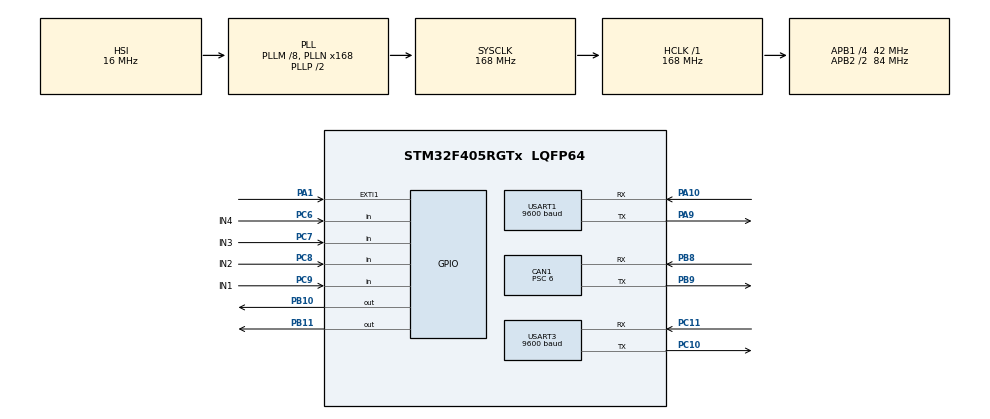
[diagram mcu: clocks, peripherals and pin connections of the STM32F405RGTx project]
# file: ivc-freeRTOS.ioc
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CAN1.AWUM=ENABLE
CAN1.BS1=CAN_BS1_8TQ
CAN1.BS2=CAN_BS2_5TQ
CAN1.CalculateTimeQuantum=142.85714285714286
CAN1.Prescaler=6
FREERTOS.Tasks01=androidTask,0,512,StartAndroidTask,Default,NULL,Dynamic,NULL,NULL;gsmTask,0,512,StartGsmTask,Default,NULL,Dynamic,NULL,NULL;canTask,0,512,StartCanTask,Default,NULL,Dynamic,NULL,NULL
Mcu.Family=STM32F4
Mcu.Name=STM32F405RGTx
Mcu.Package=LQFP64
NVIC.CAN1_RX0_IRQn=true\:5\:0\:false\:false\:true\:true\:true\:true
NVIC.EXTI1_IRQn=true\:5\:0\:false\:false\:true\:true\:true\:true
NVIC.PriorityGroup=NVIC_PRIORITYGROUP_4
NVIC.TIM2_IRQn=true\:5\:0\:false\:false\:true\:true\:true\:true
NVIC.TIM3_IRQn=true\:5\:0\:false\:false\:true\:true\:true\:true
NVIC.TIM8_TRG_COM_TIM14_IRQn=true\:0\:0\:false\:false\:true\:false\:false\:true
NVIC.TimeBase=TIM8_TRG_COM_TIM14_IRQn
NVIC.TimeBaseIP=TIM14
NVIC.USART1_IRQn=true\:5\:0\:false\:false\:true\:true\:true\:true
NVIC.USART3_IRQn=true\:5\:0\:false\:false\:true\:true\:true\:true
PA1.Signal=GPXTI1
PA10.Mode=Asynchronous
PA10.Signal=USART1_RX
PA13.Mode=Serial_Wire
PA13.Signal=SYS_JTMS-SWDIO
PA14.Mode=Serial_Wire
PA14.Signal=SYS_JTCK-SWCLK
PA9.Mode=Asynchronous
PA9.Signal=USART1_TX
PB10.Signal=GPIO_Output
PB11.Signal=GPIO_Output
PB12.Signal=SPI2_NSS
PB13.Signal=SPI2_SCK
PB14.Signal=SPI2_MISO
PB15.Signal=SPI2_MOSI
PB8.Mode=Master
PB8.Signal=CAN1_RX
PB9.Mode=Master
PB9.Signal=CAN1_TX
PC10.Mode=Asynchronous
PC10.Signal=USART3_TX
PC11.Mode=Asynchronous
PC11.Signal=USART3_RX
PC6.GPIO_Label=IN4
PC6.Signal=GPIO_Input
PC7.GPIO_Label=IN3
PC7.Signal=GPIO_Input
PC8.GPIO_Label=IN2
PC8.Signal=GPIO_Input
PC9.GPIO_Label=IN1
PC9.Signal=GPIO_Input
ProjectManager.HeapSize=0xC00
ProjectManager.StackSize=0x800
ProjectManager.TargetToolchain=MDK-ARM V5
RCC.48MHZClocksFreq_Value=84000000
RCC.AHBFreq_Value=168000000
RCC.APB1CLKDivider=RCC_HCLK_DIV4
RCC.APB1Freq_Value=42000000
RCC.APB1TimFreq_Value=84000000
RCC.APB2CLKDivider=RCC_HCLK_DIV2
RCC.APB2Freq_Value=84000000
RCC.APB2TimFreq_Value=168000000
RCC.CortexFreq_Value=168000000
RCC.HCLKFreq_Value=168000000
RCC.HSE_VALUE=25000000
RCC.HSI_VALUE=16000000
RCC.LSE_VALUE=32768
RCC.PLLM=8
RCC.PLLN=168
RCC.SYSCLKFreq_VALUE=168000000
RCC.SYSCLKSource=RCC_SYSCLKSOURCE_PLLCLK
RCC.VCOOutputFreq_Value=336000000
TIM3.Period=100-1
TIM3.Prescaler=840-1
USART1.BaudRate=9600
USART1.VirtualMode=VM_ASYNC
USART3.BaudRate=9600
USART3.VirtualMode=VM_ASYNC
VP_FREERTOS_VS_CMSIS_V1.Mode=CMSIS_V1
VP_SYS_VS_tim14.Mode=TIM14
VP_TIM2_VS_ClockSourceINT.Mode=Internal
VP_TIM3_VS_ClockSourceINT.Mode=Internal
board=custom

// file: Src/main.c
/* USER CODE BEGIN Header */
/**
  ******************************************************************************
  * @file           : main.c
  * @brief          : Main program body
  ******************************************************************************
  * This notice applies to any and all portions of this file
  * that are not between comment pairs USER CODE BEGIN and
  * USER CODE END. Other portions of this file, whether
  * inserted by the user or by software development tools
  * are owned by their respective copyright owners.
  *
  * Copyright (c) 2019 STMicroelectronics International N.V.
  * All rights reserved.
  *
  * Redistribution and use in source and binary forms, with or without
  * modification, are permitted, provided that the following conditions are met:
  *
  * 1. Redistribution of source code must retain the above copyright notice,
  *    this list of conditions and the following disclaimer.
  * 2. Redistributions in binary form must reproduce the above copyright notice,
  *    this list of conditions and the following disclaimer in the documentation
  *    and/or other materials provided with the distribution.
  * 3. Neither the name of STMicroelectronics nor the names of other
  *    contributors to this software may be used to endorse or promote products
  *    derived from this software without specific written permission.
  * 4. This software, including modifications and/or derivative works of this
  *    software, must execute solely and exclusively on microcontroller or
  *    microprocessor devices manufactured by or for STMicroelectronics.
  * 5. Redistribution and use of this software other than as permitted under
  *    this license is void and will automatically terminate your rights under
  *    this license.
  *
  * THIS SOFTWARE IS PROVIDED BY STMICROELECTRONICS AND CONTRIBUTORS "AS IS"
  * AND ANY EXPRESS, IMPLIED OR STATUTORY WARRANTIES, INCLUDING, BUT NOT
  * LIMITED TO, THE IMPLIED WARRANTIES OF MERCHANTABILITY, FITNESS FOR A
  * PARTICULAR PURPOSE AND NON-INFRINGEMENT OF THIRD PARTY INTELLECTUAL PROPERTY
  * RIGHTS ARE DISCLAIMED TO THE FULLEST EXTENT PERMITTED BY LAW. IN NO EVENT
  * SHALL STMICROELECTRONICS OR CONTRIBUTORS BE LIABLE FOR ANY DIRECT, INDIRECT,
  * INCIDENTAL, SPECIAL, EXEMPLARY, OR CONSEQUENTIAL DAMAGES (INCLUDING, BUT NOT
  * LIMITED TO, PROCUREMENT OF SUBSTITUTE GOODS OR SERVICES; LOSS OF USE, DATA,
  * OR PROFITS; OR BUSINESS INTERRUPTION) HOWEVER CAUSED AND ON ANY THEORY OF
  * LIABILITY, WHETHER IN CONTRACT, STRICT LIABILITY, OR TORT (INCLUDING
  * NEGLIGENCE OR OTHERWISE) ARISING IN ANY WAY OUT OF THE USE OF THIS SOFTWARE,
  * EVEN IF ADVISED OF THE POSSIBILITY OF SUCH DAMAGE.
  *
  ******************************************************************************
  */
/* USER CODE END Header */

#include "main.h"
#include "cmsis_os.h"
#include "can.h"
#include "tim.h"
#include "usart.h"
#include "gpio.h"

/* USER CODE BEGIN Includes */
#include <stdbool.h>
/* USER CODE END Includes */

/* USER CODE BEGIN PV */
uint32_t a,b,c,d;

/* CAN variables */
extern CAN_TxHeaderTypeDef   TxHeader;
extern CAN_RxHeaderTypeDef   RxHeader;
extern uint8_t               TxData[8];
extern uint8_t               RxData[8];
extern uint32_t              TxMailbox;

// BMS variable
int supply12V, packSOC = 80, ampHours, lowestVolt = 2725;
//uint32_t totalVolt;
bool right = 0, left = 0, lamp = 0;
float coloumb;
uint16_t current;
uint16_t temperature[4];

// controller variable
uint32_t counter;
uint16_t motorCurrent;
uint16_t controllerTemperature;
uint16_t rpm;
uint8_t errorCode;
uint16_t motorTemperature;
uint16_t d_battCurrentController;
uint16_t totalVoltController;
uint8_t totalVolt = 0;

// pulser variable
uint16_t counterL;
uint8_t counterH;
float periode, freq;

int mode = 0;

uint32_t n;

extern uint8_t rx_data, rx_buffer[256], rx_index, Transfer_cplt, datapos, dataqt;
extern char tx_buffer[512];

/* bluetooth variables */
uint8_t rx_data2, rx_buffer2[256], Transfer_cplt2;
uint32_t rx_index2=0;
char tx_buffer2[512];
/* USER CODE END PV */

void SystemClock_Config(void);
void MX_FREERTOS_Init(void);

int main(void)
{

  /* MCU Configuration--------------------------------------------------------*/

  /* Reset of all peripherals, Initializes the Flash interface and the Systick. */
  HAL_Init();

  /* Configure the system clock */
  SystemClock_Config();

  /* Initialize all configured peripherals */
  MX_GPIO_Init();
  MX_CAN1_Init();
  MX_USART3_UART_Init();
  MX_USART1_UART_Init();
  MX_TIM2_Init();
  MX_TIM3_Init();
  /* USER CODE BEGIN 2 */
	CAN_Filter();
	HAL_CAN_Start(&hcan1);

	HAL_Delay(6000);

//	HAL_UART_Receive_IT(&huart1,&rx_data2,1);
	HAL_UART_Receive_IT(&huart3,&rx_data,1);

//	n=sprintf(tx_buffer,"AT\r\n");
//	HAL_UART_Transmit(&huart3, (uint8_t *)tx_buffer, n, 200);

  /* USER CODE END 2 */

  /* Call init function for freertos objects (in freertos.c) */
  MX_FREERTOS_Init();

  /* Start scheduler */
  osKernelStart();

  /* We should never get here as control is now taken by the scheduler */

  /* Infinite loop */
  while (1)
  {

  }
}

void SystemClock_Config(void)
{
  RCC_OscInitTypeDef RCC_OscInitStruct = {0};
  RCC_ClkInitTypeDef RCC_ClkInitStruct = {0};

  /**Configure the main internal regulator output voltage
  */
  __HAL_RCC_PWR_CLK_ENABLE();
  __HAL_PWR_VOLTAGESCALING_CONFIG(PWR_REGULATOR_VOLTAGE_SCALE1);
  /**Initializes the CPU, AHB and APB busses clocks
  */
  RCC_OscInitStruct.OscillatorType = RCC_OSCILLATORTYPE_HSI;
  RCC_OscInitStruct.HSIState = RCC_HSI_ON;
  RCC_OscInitStruct.HSICalibrationValue = RCC_HSICALIBRATION_DEFAULT;
  RCC_OscInitStruct.PLL.PLLState = RCC_PLL_ON;
  RCC_OscInitStruct.PLL.PLLSource = RCC_PLLSOURCE_HSI;
  RCC_OscInitStruct.PLL.PLLM = 8;
  RCC_OscInitStruct.PLL.PLLN = 168;
  RCC_OscInitStruct.PLL.PLLP = RCC_PLLP_DIV2;
  RCC_OscInitStruct.PLL.PLLQ = 4;
  if (HAL_RCC_OscConfig(&RCC_OscInitStruct) != HAL_OK)
  {
    Error_Handler();
  }
  /**Initializes the CPU, AHB and APB busses clocks
  */
  RCC_ClkInitStruct.ClockType = RCC_CLOCKTYPE_HCLK|RCC_CLOCKTYPE_SYSCLK
                              |RCC_CLOCKTYPE_PCLK1|RCC_CLOCKTYPE_PCLK2;
  RCC_ClkInitStruct.SYSCLKSource = RCC_SYSCLKSOURCE_PLLCLK;
  RCC_ClkInitStruct.AHBCLKDivider = RCC_SYSCLK_DIV1;
  RCC_ClkInitStruct.APB1CLKDivider = RCC_HCLK_DIV4;
  RCC_ClkInitStruct.APB2CLKDivider = RCC_HCLK_DIV2;

  if (HAL_RCC_ClockConfig(&RCC_ClkInitStruct, FLASH_LATENCY_5) != HAL_OK)
  {
    Error_Handler();
  }
}

void HAL_TIM_PeriodElapsedCallback(TIM_HandleTypeDef *htim)
{
  if (htim->Instance == TIM14) {
    HAL_IncTick();
  }
}

void Error_Handler(void)
{
}

/************************ (C) COPYRIGHT STMicroelectronics *****END OF FILE****/

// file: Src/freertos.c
/* USER CODE BEGIN Header */
/**
  ******************************************************************************
  * File Name          : freertos.c
  * Description        : Code for freertos applications
  ******************************************************************************
  * This notice applies to any and all portions of this file
  * that are not between comment pairs USER CODE BEGIN and
  * USER CODE END. Other portions of this file, whether
  * inserted by the user or by software development tools
  * are owned by their respective copyright owners.
  *
  * Copyright (c) 2019 STMicroelectronics International N.V.
  * All rights reserved.
  *
  * Redistribution and use in source and binary forms, with or without
  * modification, are permitted, provided that the following conditions are met:
  *
  * 1. Redistribution of source code must retain the above copyright notice,
  *    this list of conditions and the following disclaimer.
  * 2. Redistributions in binary form must reproduce the above copyright notice,
  *    this list of conditions and the following disclaimer in the documentation
  *    and/or other materials provided with the distribution.
  * 3. Neither the name of STMicroelectronics nor the names of other
  *    contributors to this software may be used to endorse or promote products
  *    derived from this software without specific written permission.
  * 4. This software, including modifications and/or derivative works of this
  *    software, must execute solely and exclusively on microcontroller or
  *    microprocessor devices manufactured by or for STMicroelectronics.
  * 5. Redistribution and use of this software other than as permitted under
  *    this license is void and will automatically terminate your rights under
  *    this license.
  *
  * THIS SOFTWARE IS PROVIDED BY STMICROELECTRONICS AND CONTRIBUTORS "AS IS"
  * AND ANY EXPRESS, IMPLIED OR STATUTORY WARRANTIES, INCLUDING, BUT NOT
  * LIMITED TO, THE IMPLIED WARRANTIES OF MERCHANTABILITY, FITNESS FOR A
  * PARTICULAR PURPOSE AND NON-INFRINGEMENT OF THIRD PARTY INTELLECTUAL PROPERTY
  * RIGHTS ARE DISCLAIMED TO THE FULLEST EXTENT PERMITTED BY LAW. IN NO EVENT
  * SHALL STMICROELECTRONICS OR CONTRIBUTORS BE LIABLE FOR ANY DIRECT, INDIRECT,
  * INCIDENTAL, SPECIAL, EXEMPLARY, OR CONSEQUENTIAL DAMAGES (INCLUDING, BUT NOT
  * LIMITED TO, PROCUREMENT OF SUBSTITUTE GOODS OR SERVICES; LOSS OF USE, DATA,
  * OR PROFITS; OR BUSINESS INTERRUPTION) HOWEVER CAUSED AND ON ANY THEORY OF
  * LIABILITY, WHETHER IN CONTRACT, STRICT LIABILITY, OR TORT (INCLUDING
  * NEGLIGENCE OR OTHERWISE) ARISING IN ANY WAY OUT OF THE USE OF THIS SOFTWARE,
  * EVEN IF ADVISED OF THE POSSIBILITY OF SUCH DAMAGE.
  *
  ******************************************************************************
  */
/* USER CODE END Header */

#include "FreeRTOS.h"
#include "task.h"
#include "main.h"
#include "cmsis_os.h"

/* USER CODE BEGIN Includes */
#include <stdbool.h>
#include "sim900A.h"

/* USER CODE END Includes */

/* USER CODE BEGIN Variables */
extern CAN_HandleTypeDef hcan1;
extern TIM_HandleTypeDef htim2;
extern TIM_HandleTypeDef htim3;
extern UART_HandleTypeDef huart1;
extern UART_HandleTypeDef huart3;
extern TIM_HandleTypeDef htim14;

extern uint32_t a,b,c,d;

/* CAN variables */
extern CAN_TxHeaderTypeDef   TxHeader;
extern CAN_RxHeaderTypeDef   RxHeader;
extern uint8_t               TxData[8];
extern uint8_t               RxData[8];
extern uint32_t              TxMailbox;

// BMS variable
extern int supply12V, packSOC, ampHours, lowestVolt;
extern uint32_t totalVolt;
extern bool right, left, lamp;
extern float coloumb;
extern uint16_t current;
extern uint16_t temperature[4];

// controller variable
extern uint32_t counter;
extern uint16_t motorCurrent;
extern uint16_t controllerTemperature;
extern uint16_t rpm;
extern uint8_t errorCode;
extern uint16_t motorTemperature;
extern uint16_t d_battCurrentController;
extern uint16_t totalVoltController;

// pulser variable
extern uint16_t counterL;
extern uint8_t counterH;
extern float periode, freq;

extern int mode;

uint8_t buffSerial[16];
uint8_t serialIndex;
bool flagEngine = true;
int count, state;

extern uint8_t rx_data, rx_buffer[256], rx_index, Transfer_cplt;
extern char tx_buffer[512];
extern float lastdata;

/* bluetooth variables */
extern uint8_t rx_data2, rx_buffer2[256], Transfer_cplt2;
extern uint32_t rx_index2;
extern char tx_buffer2[512];

extern uint32_t n;

/* USER CODE END Variables */
osThreadId androidTaskHandle;
osThreadId gsmTaskHandle;
osThreadId canTaskHandle;

/* USER CODE BEGIN FunctionPrototypes */
unsigned char ascii_to_hex(unsigned char data);
void input_handler(void);
void Clr_Buff2();
/* USER CODE END FunctionPrototypes */

void StartAndroidTask(void const * argument);
void StartGsmTask(void const * argument);
void StartCanTask(void const * argument);

void MX_FREERTOS_Init(void); /* (MISRA C 2004 rule 8.1) */

void MX_FREERTOS_Init(void) {

  /* Create the thread(s) */
  /* definition and creation of androidTask */
  osThreadDef(androidTask, StartAndroidTask, osPriorityNormal, 0, 512);
  androidTaskHandle = osThreadCreate(osThread(androidTask), NULL);

  /* definition and creation of gsmTask */
  osThreadDef(gsmTask, StartGsmTask, osPriorityNormal, 0, 512);
  gsmTaskHandle = osThreadCreate(osThread(gsmTask), NULL);

  /* definition and creation of canTask */
  osThreadDef(canTask, StartCanTask, osPriorityNormal, 0, 512);
  canTaskHandle = osThreadCreate(osThread(canTask), NULL);

}

void StartAndroidTask(void const * argument)
{

  /* USER CODE BEGIN StartAndroidTask */
  /* Infinite loop */
  for(;;)
  {
		if (state == 0) // BMS Parameters
		{
//			cnt=500;
//				lowestVolt = 2725;
//				current = 3535;
//				totalVolt = 500000;
//				packSOC += 10;
				if (packSOC > 100)
				{packSOC = 0;}
//				lowestVolt += 50;
//				if (lowestVolt == 5000)
//					lowestVolt = 0;
//				current = 3535;
//				temperature[0] += 100;
//				if (temperature[0] == 5000)
//					temperature[0] = 0;
			temperature[1] = temperature[0];
			temperature[2] = temperature[0];
			temperature[3] = temperature[0];
//			cnt=501;
			Clr_Buff2();
//			cnt=502;
			n=sprintf(tx_buffer2,"(%02X %02X %02X %02X %02X %02X %02X %02X %02X %02X %02X %02X %02X %02X)\n\r",
							 state, packSOC, lowestVolt >> 8, lowestVolt & 0xFF, current >> 8, current & 0xFF,
							 temperature[0] >> 8, temperature[0] & 0xFF, temperature[1] >> 8, temperature[1] & 0xFF,
							 temperature[2] >> 8, temperature[2] & 0xFF, temperature[3] >> 8, temperature[3] & 0xFF);
			HAL_UART_Transmit(&huart1, (uint8_t *)tx_buffer2, n, 100);
//				printf("(%02X %02X %02X %02X %02X %02X %02X "
//			          "%02X %02X %02X %02X %02X %02X %02X)\n\r",
//							   state, packSOC, lowestVolt >> 8, lowestVolt & 0xFF, current >> 8, current & 0xFF,
//							   temperature[0] >> 8, temperature[0] & 0xFF, temperature[1] >> 8, temperature[1] & 0xFF,
//							   temperature[2] >> 8, temperature[2] & 0xFF, temperature[3] >> 8, temperature[3] & 0xFF);
//				if (packSOC > 100) packSOC = 100;
//			cnt=503;
			state = 1;
//			cnt=504;
		}
		else if (state == 1) // Controller Parameters
		{
//				controllerTemperature = 35;
//				motorTemperature = 25;
//				rpm = 2525;
////				rpm += 100;
//				if (rpm > 5000) rpm = 0;
//				motorCurrent = 157;
//				d_battCurrentController = 3575;
//				errorCode = 0;
//				totalVolt += 5;
//				if (totalVolt > 255)
//					totalVolt = 0;
			Clr_Buff2();
			n=sprintf(tx_buffer2,"(%02X %02X %02X %02X %02X %02X %02X %02X %02X %02X %02X %02X %02X %02X)\n\r",
							 state,rpm >> 8, rpm & 0xFF, motorCurrent >> 8, motorCurrent & 0xFF, controllerTemperature >> 8, controllerTemperature & 0xFF,
								motorTemperature >> 8, motorTemperature & 0xFF, errorCode, d_battCurrentController >> 8, d_battCurrentController & 0xFF,
								totalVoltController >> 8, totalVoltController & 0xFF);
			HAL_UART_Transmit(&huart1, (uint8_t *)tx_buffer2, n, 100);
//				printf("(%02X %02X %02X %02X %02X %02X %02X "
//								"%02X %02X %02X %02X %02X %02X %02X)\n\r",
//				         state,rpm >> 8, rpm & 0xFF, motorCurrent >> 8, motorCurrent & 0xFF, controllerTemperature >> 8, controllerTemperature & 0xFF,
//									motorTemperature >> 8, motorTemperature & 0xFF, errorCode, d_battCurrentController >> 8, d_battCurrentController & 0xFF,
//									totalVoltController >> 8, totalVoltController & 0xFF);
//			rpm++;
//			motorCurrent++;
			state = 2;
		}
		else if (state == 2) // Miscellaneous
		{
//				right = !right;
//				lamp = !lamp;
//				left = !left;
//				right = 0;
			Clr_Buff2();
			n=sprintf(tx_buffer2,"(%02X %02X %02X %02X)\n\r",state, right, left, lamp);
			HAL_UART_Transmit(&huart1, (uint8_t *)tx_buffer2, n, 100);
//				printf("(%02X %02X %02X %02X)\n\r",state, right, left, lamp);
			if (mode == 0x00)
				state = 0;
			else if (mode == 0x01)
				//state = 3;
			{	packSOC += 10; if (packSOC > 100) packSOC = 0; }
		}
		else if (state == 3) //-- state 3 to control engine on/off
		{
			if (buffSerial[0] == 12)
			{
				flagEngine = buffSerial[1];
				uint8_t id = 0xFF; //-- edit to change CAN ID
//					TxMessage.ExtId = (uint32_t)(id << 8) | IVC_ID
//					TxMessage.RTR = CAN_RTR_DATA;
//					TxMessage.IDE = CAN_ID_EXT;
//					TxMessage.DLC = 8;
//					TxMessgae.Data[0] = flagEngine;
//					CAN_Transmit(CAN_COM, &TxMessage);

				TxHeader.ExtId = (uint32_t)(buffSerial[0] << 8) | IVC_ID;
				TxData[0] = flagEngine;
				HAL_CAN_AddTxMessage(&hcan1, &TxHeader, TxData, &TxMailbox);
			}

			state = 0;
		}
		//printf("state : %d\n\r",state);

		input_handler();

		count = 0;
//		cnt=0;
		a++;
		HAL_Delay(1000);
    osDelay(1);
  }
  /* USER CODE END StartAndroidTask */
}

void StartGsmTask(void const * argument)
{
  /* USER CODE BEGIN StartGsmTask */
  /* Infinite loop */
	gsmStatus();
	SIM900A_Init();

  for(;;)
  {
		ReadLastData(683369, 1);
//		power = SIM7000_ReadLastData_tsk(683369, 1);
		TxHeader.ExtId = 0x12 << 8 | IVC_ID;
		TxData[0] = lastdata;
		HAL_CAN_AddTxMessage(&hcan1, &TxHeader, TxData, &TxMailbox);
		b++;
		osDelay(1000);
    osDelay(1);
  }
  /* USER CODE END StartGsmTask */
}

void StartCanTask(void const * argument)
{
  /* USER CODE BEGIN StartCanTask */
  /* Infinite loop */
  for(;;)
  {
		c++;
		vTaskDelay(1000);
    osDelay(1);
  }
  /* USER CODE END StartCanTask */
}

/* USER CODE BEGIN Application */
unsigned char ascii_to_hex(unsigned char data)
{
    if ((data >= '0') && (data <= '9' )) {
        // Numbers (0-9)
        data -= '0';
    } else if ((data >= 'A') && (data <= 'F' )) {
        // Uppercase (A-F)
        data = data -'A' + 10;
    } else if ((data >= 'a') && (data <= 'f' )) {
        // Lowercase (a-f)
        data = data -'a' + 10;
    } else {
        // Illegal
        data = 0;
    }

    return data;
}

void input_handler(void)
{
//	static uint16_t count;
//	count++;
//	if (count == 500)
//	{
		if (HAL_GPIO_ReadPin(IN1_GPIO_Port, IN1_Pin) == 0) //right
		{
			// just for debugging
			//	printf("Input 1 is pressed\n\r");
			right = 1;
		}
		else
		{
			right = 0;
		}

		if (HAL_GPIO_ReadPin(IN2_GPIO_Port, IN2_Pin) == 0) //left
		{
			// just for debugging
			//	printf("Input 2 is pressed\n\r");
			left = 1;
		}
		else
		{
			left = 0;
		}

		if (HAL_GPIO_ReadPin(IN3_GPIO_Port, IN3_Pin) == 0) //lamp
		{
			// just for debugging
			//	printf("Input 3 is pressed\n\r");
			lamp = 1;
		}
		else
		{
			lamp = 0;
		}

//		if (GPIO_ReadInputDataBit(INPUT_GPIO, IN4) == Bit_RESET)
//		{
//
//			// just for debugging
//				printf("Input 4 is pressed\n\r");
//		}
//		else
//		{
//
//		}
//
//		count = 0;
//	}
}

void Clr_Buff2()
{
	for(uint8_t i=0;i<=rx_index2;i++)
			rx_buffer2[i]=0;

	rx_index2 = 0;
	for(uint8_t x=0;x<=100;x++);
}
/* USER CODE END Application */

/************************ (C) COPYRIGHT STMicroelectronics *****END OF FILE****/
